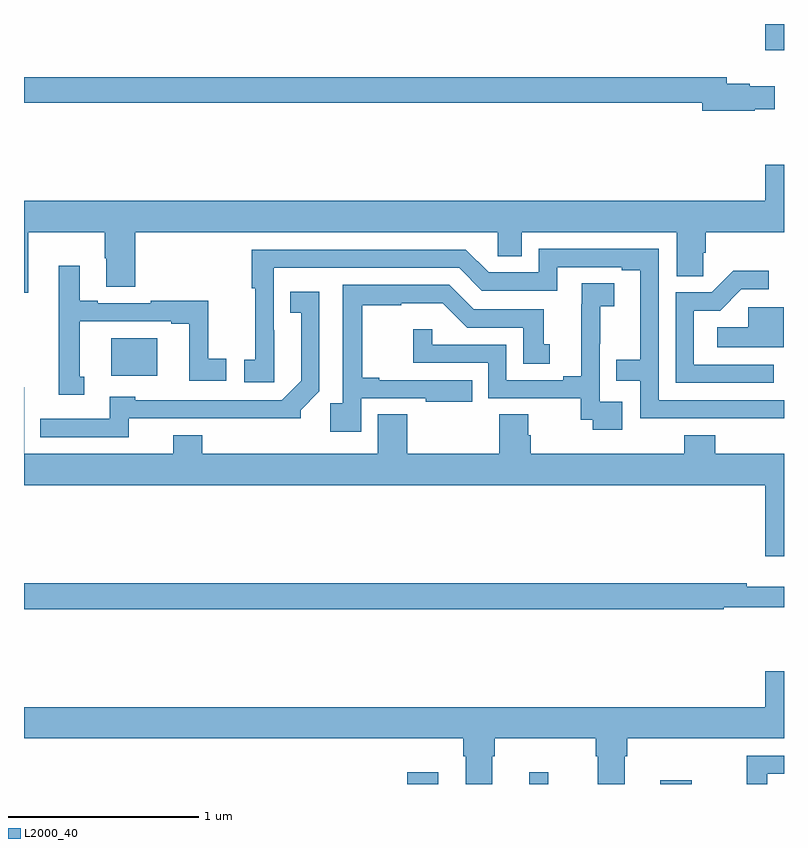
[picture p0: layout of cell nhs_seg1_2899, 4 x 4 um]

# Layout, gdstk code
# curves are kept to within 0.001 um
import gdstk
lib = gdstk.Library(unit=1e-6, precision=1e-09)
def R(c, l, rs):  # rectangles x0, y0, x1, y1
    for r in rs: c.add(gdstk.rectangle(r[:2], r[2:], *l))
def P(c, l, *ps):  # polygons
    for p in ps: c.add(gdstk.Polygon(p, *l))
L2000_40 = (2000, 40)

nhs_seg1_2899 = lib.new_cell('nhs_seg1_2899')
R(nhs_seg1_2899, L2000_40, [(271.016,510.199,271.18,510.262), (271.658,510.199,271.76,510.262), (272.348,510.199,272.514,510.22), (269.459,512.348,269.701,512.545), (272.9,514.062,273,514.199)])
P(nhs_seg1_2899, L2000_40, [(272.846,513.751),(272.951,513.751),(272.951,513.871),(272.82,513.871),(272.82,513.884),(272.698,513.884),(272.698,513.92),(269,513.92),(269,513.784),(272.57,513.784),(272.57,513.742),(272.846,513.742)],
  [(269.023,513.104),(269.425,513.104),(269.425,512.966),(269.432,512.966),(269.432,512.815),(269.585,512.815),(269.585,513.104),(271.494,513.104),(271.494,512.977),(271.621,512.977),(271.621,513.104),(272.435,513.104),(272.435,512.872),(272.574,512.872),(272.574,512.995),(272.588,512.995),(272.588,513.104),(273,513.104),(273,513.457),(272.9,513.457),(272.9,513.268),(269,513.268),(269,512.784),(269.023,512.784)],
  [(273,512.22),(272.34,512.22),(272.34,513.015),(271.71,513.015),(271.71,512.892),(271.446,512.892),(271.326,513.012),(270.199,513.012),(270.199,512.809),(270.217,512.809),(270.217,512.433),(270.159,512.433),(270.159,512.313),(270.316,512.313),(270.315,512.916),(271.29,512.916),(271.41,512.796),(271.806,512.796),(271.806,512.919),(272.147,512.919),(272.147,512.904),(272.243,512.904),(272.243,512.431),(272.116,512.431),(272.116,512.322),(272.244,512.322),(272.244,512.124),(273,512.123)],
  [(269.317,512.343),(269.293,512.343),(269.293,512.634),(269.774,512.634),(269.774,512.621),(269.87,512.621),(269.87,512.322),(270.064,512.322),(270.064,512.438),(269.97,512.438),(269.97,512.743),(269.668,512.743),(269.668,512.73),(269.389,512.73),(269.389,512.743),(269.293,512.743),(269.293,512.926),(269.183,512.926),(269.183,512.681),(269.184,512.681),(269.184,512.249),(269.317,512.249)],
  [(272.947,512.406),(272.526,512.406),(272.526,512.691),(272.664,512.691),(272.775,512.802),(272.92,512.802),(272.92,512.9),(272.732,512.9),(272.619,512.787),(272.43,512.787),(272.43,512.31),(272.947,512.31)],
  [(272.149,512.211),(272.031,512.211),(272.031,512.515),(272.033,512.515),(272.033,512.713),(272.107,512.713),(272.107,512.834),(271.936,512.834),(271.936,512.723),(271.934,512.723),(271.934,512.345),(271.838,512.345),(271.838,512.325),(271.539,512.325),(271.539,512.511),(271.149,512.511),(271.149,512.593),(271.048,512.593),(271.048,512.415),(271.443,512.415),(271.443,512.229),(271.93,512.229),(271.93,512.115),(271.993,512.115),(271.993,512.064),(272.149,512.064)],
  [(270.774,512.229),(271.115,512.229),(271.115,512.21),(271.358,512.21),(271.358,512.325),(270.871,512.325),(270.871,512.338),(270.779,512.338),(270.779,512.718),(270.986,512.718),(270.986,512.729),(271.204,512.729),(271.332,512.601),(271.628,512.601),(271.628,512.41),(271.768,512.41),(271.768,512.514),(271.735,512.514),(271.735,512.697),(271.368,512.697),(271.239,512.826),(270.678,512.826),(270.678,512.203),(270.613,512.203),(270.613,512.052),(270.774,512.052)],
  [(269.55,512.124),(270.456,512.123),(270.456,512.167),(270.555,512.266),(270.555,512.791),(270.4,512.791),(270.4,512.678),(270.458,512.678),(270.458,512.321),(270.357,512.22),(269.586,512.22),(269.586,512.236),(269.45,512.236),(269.45,512.121),(269.086,512.121),(269.086,512.025),(269.55,512.025)],
  [(272.998,512.709),(272.811,512.709),(272.811,512.602),(272.649,512.602),(272.649,512.498),(272.998,512.498)],
  [(269.786,512.035),(269.786,511.936),(269.001,511.936),(269.001,512.287),(269,512.287),(269,511.772),(272.9,511.772),(272.9,511.398),(273,511.398),(273,511.936),(272.639,511.936),(272.639,512.035),(272.474,512.035),(272.474,511.936),(271.667,511.936),(271.667,512.034),(271.654,512.034),(271.654,512.144),(271.502,512.144),(271.502,511.936),(271.016,511.936),(271.016,512.144),(270.863,512.144),(270.863,511.936),(269.939,511.936),(269.939,512.035)],
  [(272.684,511.128),(273,511.128),(273,511.237),(272.804,511.237),(272.804,511.256),(269,511.256),(269,511.12),(272.684,511.12)],
  [(271.465,510.344),(271.478,510.344),(271.478,510.44),(272.009,510.44),(272.009,510.344),(272.021,510.344),(272.021,510.199),(272.161,510.199),(272.161,510.344),(272.174,510.344),(272.174,510.44),(273,510.44),(273,510.793),(272.9,510.793),(272.9,510.604),(269,510.604),(269,510.44),(271.313,510.44),(271.313,510.344),(271.325,510.344),(271.325,510.199),(271.465,510.199)],
  [(272.913,510.252),(273,510.252),(273,510.348),(272.805,510.348),(272.805,510.199),(272.913,510.199)])

lib.write_gds('nhs_seg1_2899.gds')
